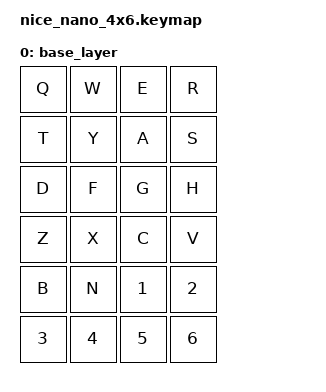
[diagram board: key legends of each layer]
# Keymap for nice_nano_4x6
# Example layout, adjust as needed
keymap {
  compatible = "zmk,keymap";
  base_layer {
    bindings = <&kp Q>, <&kp W>, <&kp E>, <&kp R>, <&kp T>, <&kp Y>,
               <&kp A>, <&kp S>, <&kp D>, <&kp F>, <&kp G>, <&kp H>,
               <&kp Z>, <&kp X>, <&kp C>, <&kp V>, <&kp B>, <&kp N>,
               <&kp 1>, <&kp 2>, <&kp 3>, <&kp 4>, <&kp 5>, <&kp 6>;
  };
}
